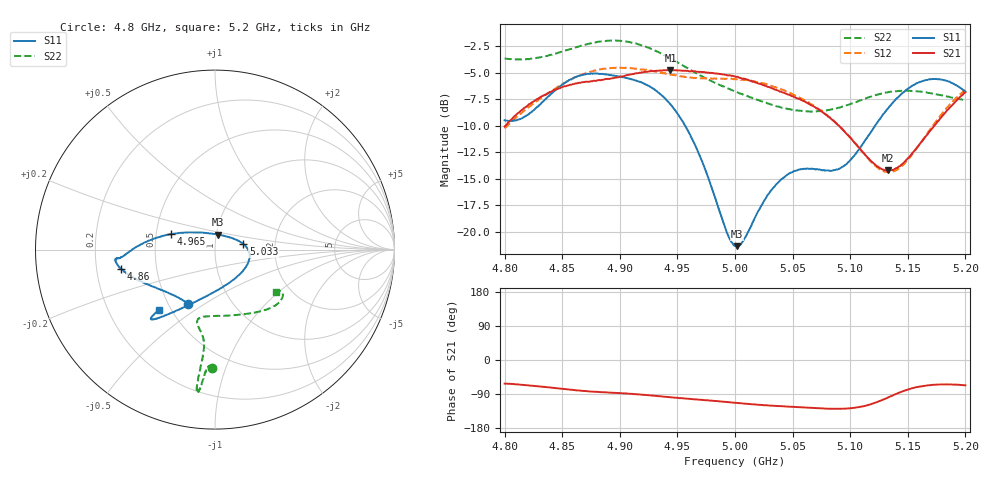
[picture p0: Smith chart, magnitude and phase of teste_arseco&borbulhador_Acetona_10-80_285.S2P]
! Network Analyzer HP8722D
! Hewlett-Packard
! Data name: Linha & Wilkinson
! Saver's name: Rodrigo Anjos
! Comments: Teste da utilização de aquisição
! continua pelo VNA HP8722D
! Time and date: 17/4/2025 16:44
!  Frequency  S11  S21  S12  S22
# HZ  S  MA R 50
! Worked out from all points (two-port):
!   401 points, 4.8 GHz to 5.2 GHz, reference 50 ohm
!   highest |S21| = -4.74 dB at 4.944 GHz (marker M1); lowest = -14.2 dB at 5.133 GHz (marker M2)
!   |S21| within 3 dB of the highest: 4.825 GHz to 5.061 GHz (236.6 MHz wide, 4.79 % of centre); 5.191107 GHz to end of sweep
!   lowest |S11| = -21.3 dB at 5.002 GHz (marker M3), VSWR 1.19, Z = 51.1 + j8.62 ohm
!   |S11| at or under -10 dB: 4.957 GHz to 5.121 GHz (164.7 MHz wide, 3.27 % of centre)
!   |S22| runs from -8.7 to -1.9 dB; largest |S21 - S12| = 0.87
!   S11 on the Smith chart (normalised r, x): 4.8 GHz: 0.63, -0.43; 4.86 GHz: 0.31, -0.09; 4.965 GHz: 0.60, +0.11; 5.033 GHz: 1.37, +0.09; 5.2 GHz: 0.43, -0.36
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4.8e9  0.3359 -116.6  0.314 -62.2  0.308 -176.5  0.6575 -91.4
4.818e9  0.3511 -135.7  0.3867 -66.1  0.3772 -176.0  0.6512 -93.0
4.86e9  0.5338 -168.2  0.4978 -79.2  0.5312 -179.4  0.7371 -95.4
4.867e9  0.5493 -171.0  0.5081 -81.2  0.5511 179.3  0.7568 -95.8
4.899e9  0.5414 -175.0  0.536 -87.3  0.5942 173.1  0.7968 -97.1
4.934e9  0.4524 179.3  0.5761 -95.6  0.568 170.1  0.7029 -97.4
4.944e9  0.3999 174.7  0.5797 -98.4  0.5516 170.3  0.6586 -97.0
4.965e9  0.2591 160.6  0.5731 -104.0  0.5318 172.0  0.566 -96.4
4.993e9  0.09913 112.5  0.549 -111.0  0.5284 174.3  0.4777 -98.8
5e9  0.086 86.1  0.5401 -113.0  0.5259 174.3  0.4584 -100.3
5.002e9  0.08567 78.0  0.5399 -113.5  0.5245 174.1  0.4554 -100.7
5.033e9  0.1611 11.3  0.4738 -120.6  0.4845 173.0  0.3965 -103.5
5.049e9  0.1904 -4.0  0.4376 -123.5  0.4484 172.4  0.3773 -98.8
5.067e9  0.1986 -23.4  0.3946 -126.3  0.3989 172.1  0.3694 -88.5
5.096e9  0.2074 -73.8  0.2936 -128.1  0.2944 174.7  0.3943 -65.9
5.121e9  0.3131 -111.2  0.2091 -113.8  0.2065 -168.7  0.4397 -49.5
5.133e9  0.3838 -120.4  0.195 -98.7  0.1913 -151.9  0.4557 -43.6
5.134e9  0.3897 -121.0  0.1952 -97.3  0.1912 -150.3  0.457 -43.2
5.146e9  0.4552 -126.7  0.2108 -82.0  0.2067 -132.7  0.4639 -38.7
5.167e9  0.5206 -131.8  0.2878 -67.1  0.292 -113.8  0.4538 -33.5
5.184e9  0.515 -133.2  0.3741 -64.4  0.3856 -108.7  0.4355 -32.3
5.2e9  0.4581 -133.1  0.4563 -66.8  0.4675 -109.0  0.4171 -34.9
